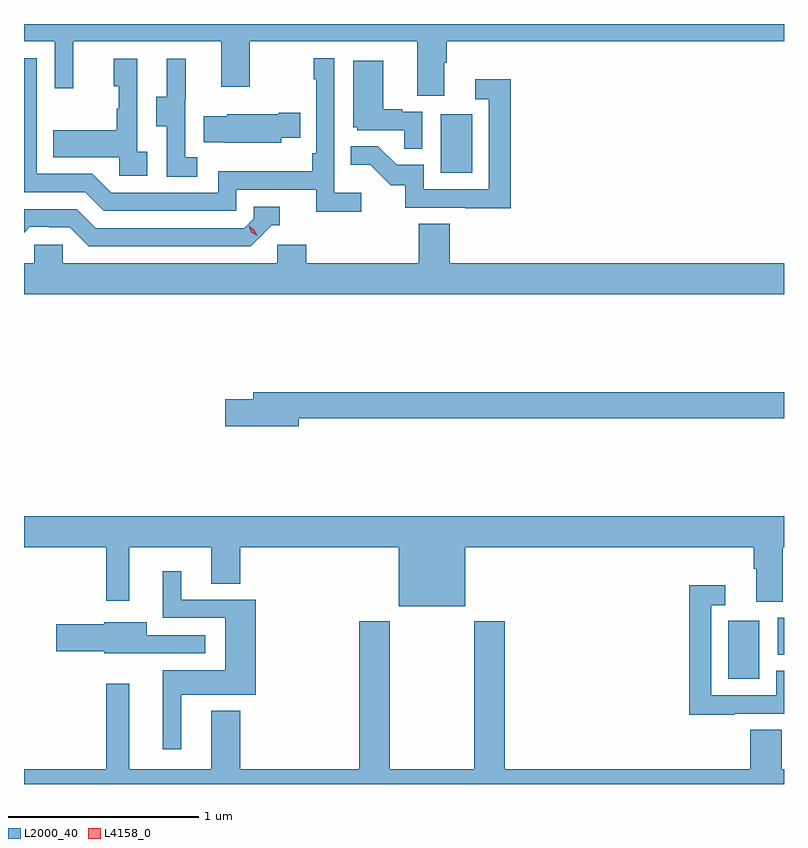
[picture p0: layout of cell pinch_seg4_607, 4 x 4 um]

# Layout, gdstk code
import gdstk
lib = gdstk.Library(unit=1e-6, precision=1e-09)
def R(c, l, rs):  # rectangles x0, y0, x1, y1
    for r in rs: c.add(gdstk.rectangle(r[:2], r[2:], *l))
def P(c, l, *ps):  # polygons
    for p in ps: c.add(gdstk.Polygon(p, *l))
L2000_40 = (2000, 40)
L4158_0 = (4158, 0)

pinch_seg4_607 = lib.new_cell('pinch_seg4_607')
R(pinch_seg4_607, L2000_40, [(1069.304,770.82,1069.468,771.127), (1069.566,770.947,1069.598,771.141), (1067.792,773.484,1067.956,773.791)])
P(pinch_seg4_607, L2000_40, [(1065.598,774.176),(1065.759,774.176),(1065.759,773.928),(1065.857,773.928),(1065.857,774.176),(1066.637,774.176),(1066.637,773.937),(1066.785,773.937),(1066.785,774.176),(1067.669,774.176),(1067.669,773.89),(1067.809,773.89),(1067.809,774.064),(1067.822,774.064),(1067.822,774.176),(1069.598,774.176),(1069.598,774.267),(1065.598,774.267)],
  [(1067.374,773.38),(1067.232,773.38),(1067.232,774.088),(1067.124,774.088),(1067.124,773.975),(1067.136,773.975),(1067.136,773.587),(1067.116,773.587),(1067.116,773.491),(1066.62,773.491),(1066.62,773.379),(1066.056,773.379),(1065.957,773.478),(1065.666,773.478),(1065.666,774.087),(1065.598,774.087),(1065.598,773.382),(1065.92,773.382),(1066.019,773.283),(1066.716,773.283),(1066.716,773.394),(1067.135,773.394),(1067.135,773.278),(1067.374,773.278)],
  [(1066.246,773.594),(1066.194,773.594),(1066.194,774.085),(1066.07,774.085),(1066.07,773.94),(1066.096,773.94),(1066.096,773.822),(1066.086,773.822),(1066.086,773.707),(1065.751,773.707),(1065.751,773.567),(1066.098,773.567),(1066.098,773.469),(1066.246,773.469)],
  [(1066.51,773.567),(1066.446,773.567),(1066.446,773.871),(1066.448,773.871),(1066.448,774.085),(1066.349,774.085),(1066.349,773.883),(1066.295,773.883),(1066.295,773.728),(1066.35,773.728),(1066.35,773.464),(1066.51,773.464)],
  [(1067.694,773.805),(1067.588,773.805),(1067.588,773.818),(1067.488,773.818),(1067.488,774.073),(1067.33,774.073),(1067.33,773.724),(1067.352,773.724),(1067.352,773.709),(1067.599,773.709),(1067.599,773.611),(1067.694,773.611)],
  [(1068.161,773.977),(1067.973,773.977),(1067.973,773.871),(1068.045,773.871),(1068.045,773.397),(1067.703,773.397),(1067.703,773.526),(1067.559,773.526),(1067.461,773.624),(1067.317,773.624),(1067.317,773.525),(1067.421,773.525),(1067.528,773.418),(1067.605,773.418),(1067.605,773.301),(1067.923,773.301),(1067.923,773.296),(1068.161,773.296)],
  [(1066.953,773.669),(1067.051,773.669),(1067.051,773.799),(1066.94,773.799),(1066.94,773.791),(1066.668,773.791),(1066.668,773.782),(1066.543,773.782),(1066.543,773.645),(1066.651,773.645),(1066.651,773.642),(1066.953,773.642)],
  [(1066.902,773.208),(1066.945,773.208),(1066.945,773.304),(1066.806,773.304),(1066.806,773.241),(1066.758,773.193),(1065.975,773.193),(1065.876,773.292),(1065.598,773.292),(1065.598,773.168),(1065.629,773.199),(1065.732,773.199),(1065.732,773.196),(1065.839,773.196),(1065.938,773.097),(1066.791,773.097)],
  [(1069.598,773.008),(1067.84,773.008),(1067.84,773.216),(1067.675,773.216),(1067.675,773.008),(1067.084,773.008),(1067.084,773.106),(1066.932,773.106),(1066.932,773.008),(1065.801,773.008),(1065.801,773.106),(1065.651,773.106),(1065.651,773.008),(1065.598,773.008),(1065.598,772.844),(1069.598,772.844)],
  [(1067.044,772.192),(1069.598,772.192),(1069.598,772.328),(1066.805,772.328),(1066.805,772.292),(1066.656,772.292),(1066.656,772.15),(1067.044,772.15)],
  [(1067.92,771.512),(1069.439,771.512),(1069.439,771.4),(1069.451,771.4),(1069.451,771.226),(1069.591,771.226),(1069.591,771.512),(1069.598,771.512),(1069.598,771.676),(1065.598,771.676),(1065.598,771.512),(1066.032,771.512),(1066.032,771.231),(1066.153,771.231),(1066.153,771.512),(1066.583,771.512),(1066.583,771.322),(1066.736,771.322),(1066.736,771.512),(1067.57,771.512),(1067.57,771.203),(1067.92,771.203)],
  [(1066.426,770.738),(1066.817,770.738),(1066.817,771.237),(1066.426,771.237),(1066.426,771.388),(1066.328,771.388),(1066.328,771.141),(1066.658,771.141),(1066.658,770.866),(1066.328,770.866),(1066.328,770.451),(1066.426,770.451)],
  [(1069.337,770.637),(1069.598,770.637),(1069.598,770.862),(1069.557,770.862),(1069.557,770.733),(1069.215,770.733),(1069.215,771.207),(1069.288,771.207),(1069.288,771.313),(1069.099,771.313),(1069.099,770.632),(1069.337,770.632)],
  [(1069.598,770.344),(1069.586,770.344),(1069.586,770.552),(1069.421,770.552),(1069.421,770.344),(1068.128,770.344),(1068.128,771.124),(1067.968,771.124),(1067.968,770.344),(1067.523,770.344),(1067.523,771.124),(1067.363,771.124),(1067.363,770.344),(1066.736,770.344),(1066.736,770.653),(1066.583,770.653),(1066.583,770.344),(1066.153,770.344),(1066.153,770.794),(1066.032,770.794),(1066.032,770.344),(1065.598,770.344),(1065.598,770.267),(1069.598,770.267)],
  [(1066.239,770.955),(1066.552,770.955),(1066.552,771.051),(1066.243,771.051),(1066.243,771.118),(1066.02,771.118),(1066.02,771.108),(1065.768,771.108),(1065.768,770.966),(1066.02,770.966),(1066.02,770.954),(1066.239,770.954)])
P(pinch_seg4_607, L4158_0, [(1066.826,773.153),(1066.795,773.172),(1066.78,773.205),(1066.78,773.205),(1066.78,773.205),(1066.81,773.185),(1066.826,773.153),(1066.826,773.153)])

lib.write_gds('pinch_seg4_607.gds')
